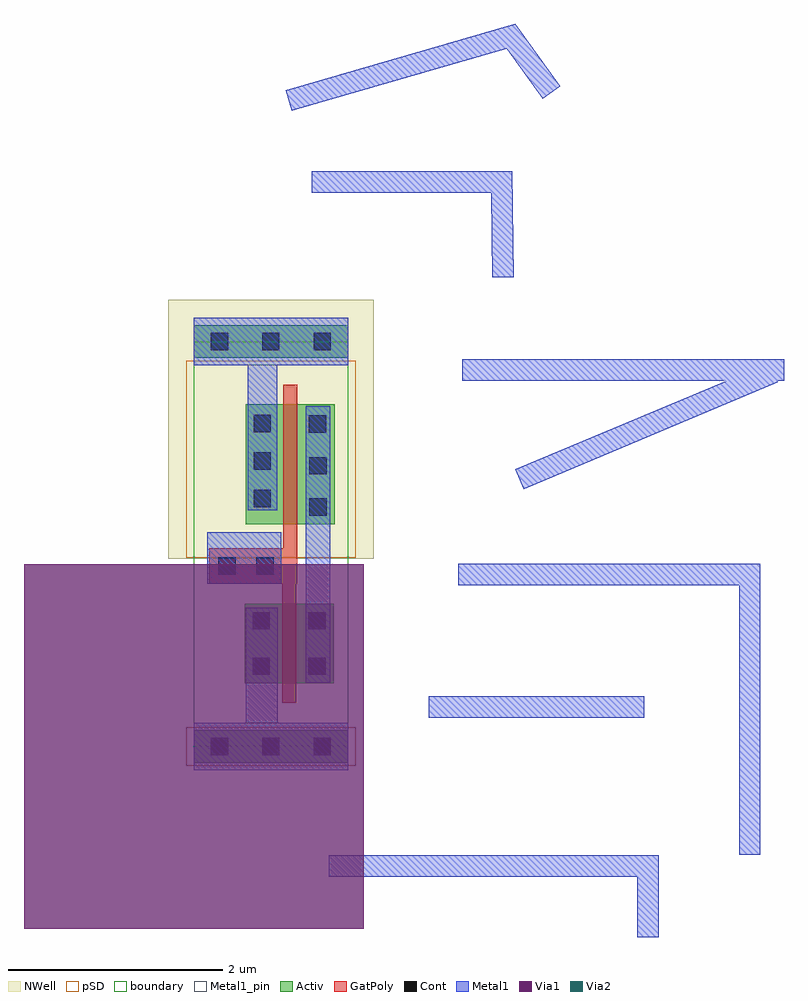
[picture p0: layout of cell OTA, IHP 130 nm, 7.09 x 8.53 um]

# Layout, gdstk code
import gdstk
lib = gdstk.Library(unit=1e-6, precision=1e-09)
def R(c, l, rs):  # rectangles x0, y0, x1, y1
    for r in rs: c.add(gdstk.rectangle(r[:2], r[2:], *l))
def A(c, l, x, y, w, h, nx, ny, dx, dy):  # array of equal rectangles
    R(c, l, [(x+i*dx, y+j*dy, x+i*dx+w, y+j*dy+h) for i in range(nx) for j in range(ny)])
def P(c, l, *ps):  # polygons
    for p in ps: c.add(gdstk.Polygon(p, *l))
Activ = (1, 0)
GatPoly = (5, 0)
Cont = (6, 0)
Metal1 = (8, 0)
Metal1_pin = (8, 2)
pSD = (14, 0)
Via1 = (19, 0)
Via2 = (29, 0)
NWell = (31, 0)
boundary = (189, 4)

sg13g2_inv_1_2 = lib.new_cell('sg13g2_inv_1$2')
R(sg13g2_inv_1_2, Activ, [(0,-0.15,1.44,0.15), (0.475,0.59,1.305,1.33), (0.485,2.075,1.315,3.195), (0,3.63,1.44,3.93)])
P(sg13g2_inv_1_2, GatPoly, [(0.825,0.41),(0.825,1.52),(0.145,1.52),(0.145,1.85),(0.835,1.85),(0.835,3.375),(0.965,3.375),(0.965,1.52),(0.955,1.52),(0.955,0.41)])
A(sg13g2_inv_1_2, Cont, 0.56, 2.235, 0.16, 0.16, 1, 3, 0, 0.35)
R(sg13g2_inv_1_2, Cont, [(0.16,-0.08,0.32,0.08), (0.16,-0.08,0.32,0.08), (0.64,-0.08,0.8,0.08), (0.64,-0.08,0.8,0.08), (1.12,-0.08,1.28,0.08), (1.12,-0.08,1.28,0.08), (0.55,0.67,0.71,0.83), (1.07,0.67,1.23,0.83), (0.55,1.095,0.71,1.255), (1.07,1.095,1.23,1.255), (0.23,1.605,0.39,1.765), (0.585,1.605,0.745,1.765), (1.08,2.155,1.24,2.315), (1.08,2.54,1.24,2.7), (1.075,2.93,1.235,3.09), (0.16,3.7,0.32,3.86), (0.16,3.7,0.32,3.86), (0.64,3.7,0.8,3.86), (0.64,3.7,0.8,3.86), (1.12,3.7,1.28,3.86), (1.12,3.7,1.28,3.86)])
R(sg13g2_inv_1_2, Metal1, [(1.045,0.595,1.275,3.175), (0.125,1.52,0.815,2)])
P(sg13g2_inv_1_2, Metal1, [(0.505,2.205),(0.505,3.56),(0,3.56),(0,4),(1.44,4),(1.44,3.56),(0.78,3.56),(0.78,2.205)],
  [(0,-0.22),(0,0.22),(0.485,0.22),(0.485,1.295),(0.785,1.295),(0.785,0.22),(1.44,0.22),(1.44,-0.22)])
R(sg13g2_inv_1_2, Metal1_pin, [(0,-0.22,1.44,0.22), (1.045,0.595,1.275,3.175), (0.125,1.52,0.815,2), (0,3.56,1.44,4)])
R(sg13g2_inv_1_2, pSD, [(-0.07,-0.18,1.51,0.18), (-0.07,1.76,1.51,3.6)])
R(sg13g2_inv_1_2, NWell, [(-0.24,1.75,1.68,4.17)])
R(sg13g2_inv_1_2, boundary, [(0,0,1.44,3.78)])
sg13g2_inv_1_2.add(gdstk.Label('Y', (1.17,1.69), layer=8, texttype=25))
sg13g2_inv_1_2.add(gdstk.Label('A', (0.485,1.76), layer=8, texttype=25))
sg13g2_inv_1_2.add(gdstk.Label('VSS', (0.72,-0.02), layer=8, texttype=25))
sg13g2_inv_1_2.add(gdstk.Label('VDD', (0.705,3.78), layer=8, texttype=25))

sg13g2_inv_1 = lib.new_cell('sg13g2_inv_1')

sg13g2_inv_1_1 = lib.new_cell('sg13g2_inv_1$1')

ota = lib.new_cell('OTA')
R(ota, Via1, [(-1.585,-1.703,1.585,1.703), (-0.095,-0.095,0.095,0.095)])
P(ota, Via1, [(2.905,-1.125),(2.905,-1.125),(2.905,-1.125),(2.905,-1.125)],
  [(2.9,-1.11),(2.9,-1.11),(2.9,-1.11),(2.9,-1.11)],
  [(2.895,-1.085),(2.895,-1.085),(2.895,-1.085),(2.895,-1.085)])
R(ota, Via2, [(-0.003,-0.003,0.003,0.003)])
P(ota, Via2, [(-1.58,-1.705),(-1.58,-1.705),(-1.58,-1.705),(-1.58,-1.705)],
  [(-1.575,-1.71),(-1.575,-1.71),(-1.575,-1.71),(-1.575,-1.71)])
ota.add(gdstk.FlexPath([(1.1,5.27),(2.875,5.27),(2.885,4.38)], 0.2, ends="flush", simple_path=True, layer=8, datatype=0))  # Metal1
ota.add(gdstk.FlexPath([(0.885,6.03),(2.96,6.63),(3.34,6.105)], 0.2, ends="flush", simple_path=True, layer=8, datatype=0))  # Metal1
ota.add(gdstk.FlexPath([(2.505,3.515),(5.51,3.515)], 0.2, ends="flush", simple_path=True, layer=8, datatype=0))  # Metal1
ota.add(gdstk.FlexPath([(5.415,3.49),(3.04,2.495)], 0.2, ends="flush", simple_path=True, layer=8, datatype=0))  # Metal1
ota.add(gdstk.FlexPath([(2.47,1.605),(5.19,1.605),(5.19,-1.01)], 0.2, ends="flush", simple_path=True, layer=8, datatype=0))  # Metal1
ota.add(gdstk.FlexPath([(1.26,-1.115),(4.24,-1.115),(4.24,-1.78)], 0.2, ends="flush", simple_path=True, layer=8, datatype=0))  # Metal1
ota.add(gdstk.FlexPath([(2.195,0.37),(4.205,0.37)], 0.2, ends="flush", simple_path=True, layer=8, datatype=0))  # Metal1
ota.add(gdstk.Reference(sg13g2_inv_1_2, (0,0)))
ota.add(gdstk.Reference(sg13g2_inv_1, (0,0)))
ota.add(gdstk.Reference(sg13g2_inv_1_1, (0,0)))

lib.write_gds('OTA.gds')
